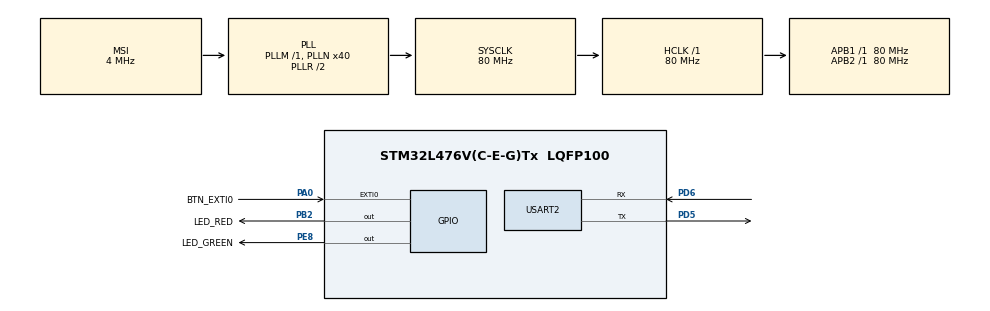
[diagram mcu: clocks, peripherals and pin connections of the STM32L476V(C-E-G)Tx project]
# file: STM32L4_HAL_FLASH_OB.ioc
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Mcu.Family=STM32L4
Mcu.Name=STM32L476V(C-E-G)Tx
Mcu.Package=LQFP100
NVIC.PriorityGroup=NVIC_PRIORITYGROUP_4
PA0.GPIO_Label=BTN_EXTI0
PA0.Signal=GPXTI0
PA13\ (JTMS-SWDIO).Mode=Serial_Wire
PA13\ (JTMS-SWDIO).Signal=SYS_JTMS-SWDIO
PA14\ (JTCK-SWCLK).Mode=Serial_Wire
PA14\ (JTCK-SWCLK).Signal=SYS_JTCK-SWCLK
PB2.GPIO_Label=LED_RED
PB2.Signal=GPIO_Output
PC14-OSC32_IN\ (PC14).Mode=LSE-External-Oscillator
PC14-OSC32_IN\ (PC14).Signal=RCC_OSC32_IN
PC15-OSC32_OUT\ (PC15).Mode=LSE-External-Oscillator
PC15-OSC32_OUT\ (PC15).Signal=RCC_OSC32_OUT
PD5.Mode=Asynchronous
PD5.Signal=USART2_TX
PD6.Mode=Asynchronous
PD6.Signal=USART2_RX
PE8.GPIO_Label=LED_GREEN
PE8.Signal=GPIO_Output
ProjectManager.HeapSize=0x200
ProjectManager.StackSize=0x400
ProjectManager.TargetToolchain=STM32CubeIDE
RCC.ADCFreq_Value=48000000
RCC.AHBFreq_Value=80000000
RCC.APB1Freq_Value=80000000
RCC.APB1TimFreq_Value=80000000
RCC.APB2Freq_Value=80000000
RCC.APB2TimFreq_Value=80000000
RCC.CortexFreq_Value=80000000
RCC.HCLKFreq_Value=80000000
RCC.HSE_VALUE=8000000
RCC.HSI_VALUE=16000000
RCC.MSIAutoCalibration=ENABLED
RCC.MSI_VALUE=4000000
RCC.PLLN=40
RCC.PLLSAI1N=24
RCC.SYSCLKFreq_VALUE=80000000
RCC.SYSCLKSource=RCC_SYSCLKSOURCE_PLLCLK
RCC.USBFreq_Value=48000000
RCC.VCOOutputFreq_Value=160000000
USART2.VirtualMode-Asynchronous=VM_ASYNC
board=STM32L476G-DISCO

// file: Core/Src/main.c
/* USER CODE BEGIN Header */
/**
 ******************************************************************************
 * @file           : main.c
 * @brief          : Main program body
 ******************************************************************************
 * @attention
 *
 * Copyright (c) 2023 STMicroelectronics.
 * All rights reserved.
 *
 * This software is licensed under terms that can be found in the LICENSE file
 * in the root directory of this software component.
 * If no LICENSE file comes with this software, it is provided AS-IS.
 *
 ******************************************************************************
 */
/* USER CODE END Header */
#include "main.h"
#include "usart.h"
#include "gpio.h"

/* USER CODE BEGIN PV */
static FLASH_OBProgramInitTypeDef flashOB;
/* USER CODE END PV */

void SystemClock_Config(void);

/* USER CODE BEGIN 0 */

void ChangeFlashOptionBytes(void)
{
  HAL_FLASH_Unlock();
  HAL_FLASH_OB_Unlock();

  HAL_FLASHEx_OBGetConfig(&flashOB);
  flashOB.OptionType = OPTIONBYTE_USER;
  flashOB.USERType = OB_USER_BOR_LEV;

  if((flashOB.USERConfig & OB_BOR_LEVEL_2) != OB_BOR_LEVEL_2)
  {
    flashOB.USERConfig = OB_BOR_LEVEL_2;
    HAL_FLASHEx_OBProgram(&flashOB);
    HAL_FLASH_OB_Launch();
  }
  else
  {
    HAL_GPIO_WritePin(LED_GREEN_GPIO_Port, LED_GREEN_Pin, GPIO_PIN_SET);
  }

  HAL_FLASH_OB_Lock();
  HAL_FLASH_Lock();
}

/* USER CODE END 0 */

int main(void)
{

  /* MCU Configuration--------------------------------------------------------*/

  /* Reset of all peripherals, Initializes the Flash interface and the Systick. */
  HAL_Init();

  /* Configure the system clock */
  SystemClock_Config();

  /* Initialize all configured peripherals */
  MX_GPIO_Init();
  MX_USART2_UART_Init();
  /* USER CODE BEGIN 2 */
  ChangeFlashOptionBytes();

  /* USER CODE END 2 */

  /* Infinite loop */
  while (1)
  {

  }
}

void SystemClock_Config(void)
{
  RCC_OscInitTypeDef RCC_OscInitStruct = {0};
  RCC_ClkInitTypeDef RCC_ClkInitStruct = {0};

  /** Configure the main internal regulator output voltage
  */
  if (HAL_PWREx_ControlVoltageScaling(PWR_REGULATOR_VOLTAGE_SCALE1) != HAL_OK)
  {
    Error_Handler();
  }

  /** Configure LSE Drive Capability
  */
  HAL_PWR_EnableBkUpAccess();
  __HAL_RCC_LSEDRIVE_CONFIG(RCC_LSEDRIVE_LOW);

  /** Initializes the RCC Oscillators according to the specified parameters
  * in the RCC_OscInitTypeDef structure.
  */
  RCC_OscInitStruct.OscillatorType = RCC_OSCILLATORTYPE_LSE|RCC_OSCILLATORTYPE_MSI;
  RCC_OscInitStruct.LSEState = RCC_LSE_ON;
  RCC_OscInitStruct.MSIState = RCC_MSI_ON;
  RCC_OscInitStruct.MSICalibrationValue = 0;
  RCC_OscInitStruct.MSIClockRange = RCC_MSIRANGE_6;
  RCC_OscInitStruct.PLL.PLLState = RCC_PLL_ON;
  RCC_OscInitStruct.PLL.PLLSource = RCC_PLLSOURCE_MSI;
  RCC_OscInitStruct.PLL.PLLM = 1;
  RCC_OscInitStruct.PLL.PLLN = 40;
  RCC_OscInitStruct.PLL.PLLP = RCC_PLLP_DIV7;
  RCC_OscInitStruct.PLL.PLLQ = RCC_PLLQ_DIV2;
  RCC_OscInitStruct.PLL.PLLR = RCC_PLLR_DIV2;
  if (HAL_RCC_OscConfig(&RCC_OscInitStruct) != HAL_OK)
  {
    Error_Handler();
  }

  /** Initializes the CPU, AHB and APB buses clocks
  */
  RCC_ClkInitStruct.ClockType = RCC_CLOCKTYPE_HCLK|RCC_CLOCKTYPE_SYSCLK
                              |RCC_CLOCKTYPE_PCLK1|RCC_CLOCKTYPE_PCLK2;
  RCC_ClkInitStruct.SYSCLKSource = RCC_SYSCLKSOURCE_PLLCLK;
  RCC_ClkInitStruct.AHBCLKDivider = RCC_SYSCLK_DIV1;
  RCC_ClkInitStruct.APB1CLKDivider = RCC_HCLK_DIV1;
  RCC_ClkInitStruct.APB2CLKDivider = RCC_HCLK_DIV1;

  if (HAL_RCC_ClockConfig(&RCC_ClkInitStruct, FLASH_LATENCY_4) != HAL_OK)
  {
    Error_Handler();
  }

  /** Enable MSI Auto calibration
  */
  HAL_RCCEx_EnableMSIPLLMode();
}

void Error_Handler(void)
{
  __disable_irq();
  while (1)
  {
  }
}
